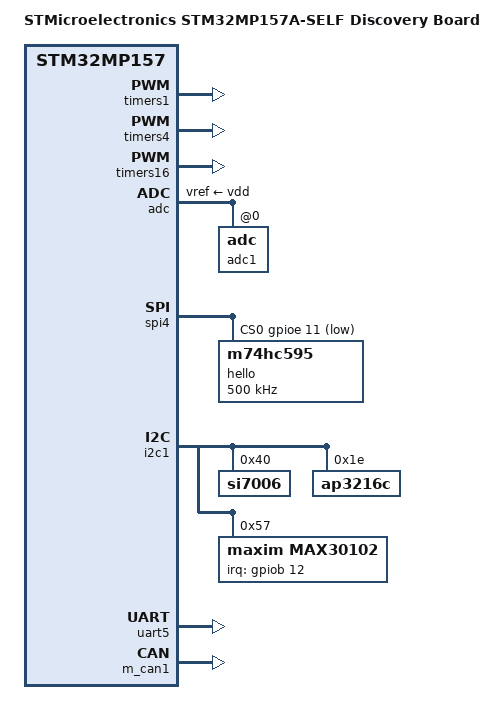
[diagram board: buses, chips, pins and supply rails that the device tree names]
// SPDX-License-Identifier: (GPL-2.0+ OR BSD-3-Clause)
/*
 * Copyright (C) STMicroelectronics 2019 - All Rights Reserved
 * Author: Alexandre Torgue <alexandre.torgue@st.com> for STMicroelectronics.
 */

/dts-v1/;

#include "stm32mp157.dtsi"
#include "stm32mp15xa.dtsi"
#include "stm32mp15-pinctrl.dtsi"
#include "stm32mp15xxac-pinctrl.dtsi"
#include "stm32mp15xx-self.dtsi"
#include "stm32mp157a-self-scmi.dtsi"

/ {
	model = "STMicroelectronics STM32MP157A-SELF Discovery Board";
	compatible = "st,stm32mp157a-self", "st,stm32mp157";

	aliases {
		ethernet0 = &ethernet0;
		serial1 = &uart5;
	};

	chosen {
		stdout-path = "serial0:115200n8";
	};
};

&pinctrl {
    pwm1_pins_c: pwm1-1 {
        bias-pull-down;
        drive-push-pull;
        slew-rate = <0>;
        pins {
            pinmux = <STM32_PINMUX('E', 9, AF1)>; /* TIM1_CH1 fan */
        };
    };

    pwm1_sleep_pins_c: pwm1-sleep-1 {
        pins {
            pinmux = <STM32_PINMUX('E', 9, ANALOG)>; /* TIM1_CH1 fan */
        };
    };

    pwm4_pins_c: pwm4-0 {
        bias-pull-down;
        drive-push-pull;
        slew-rate = <0>;
        pins {
            pinmux = <STM32_PINMUX('B', 6, AF2)>; /* TIM4_CH1 beep */
        };
    };

    pwm4_sleep_pins_c: pwm4-sleep-0 {
        pins {
            pinmux = <STM32_PINMUX('B', 6, ANALOG)>; /* TIM4_CH1 beep */
        };
    };

    pwm16_pins_a: pwm16-0 {
        bias-pull-down;
        drive-push-pull;
        slew-rate = <0>;
        pins {
            pinmux = <STM32_PINMUX('F', 6, AF1)>; /* TIM16_CH1 motor */
        };
    };

    pwm16_sleep_pins_a: pwm16-sleep-0 {
        pins {
            pinmux = <STM32_PINMUX('F', 6, ANALOG)>; /* TIM16_CH1 motor */
        };
    };
};


&timers1 {
	/* spare dmas for other usage */
	/delete-property/dmas;
	/delete-property/dma-names;
	status = "okay";

	pwm1: pwm {
		label = "beep";
		pinctrl-0 = <&pwm1_pins_c>;
		pinctrl-1 = <&pwm1_sleep_pins_c>;
		pinctrl-names = "default", "sleep";
		#pwm-cells = <2>;
		status = "okay";
	};
};

&timers4 {
	/* spare dmas for other usage */
	/delete-property/dmas;
	/delete-property/dma-names;
	status = "okay";

	pwm4: pwm {
		label = "fans";
		pinctrl-0 = <&pwm4_pins_c>;
		pinctrl-1 = <&pwm4_sleep_pins_c>;
		pinctrl-names = "default", "sleep";
		#pwm-cells = <2>;
		status = "okay";
	};
};

&timers16 {
	/* spare dmas for other usage */
	/delete-property/dmas;
	/delete-property/dma-names;
	status = "okay";

	pwm16: pwm {
		label = "motor";
		pinctrl-0 = <&pwm16_pins_a>;
		pinctrl-1 = <&pwm16_sleep_pins_a>;
		pinctrl-names = "default", "sleep";
		#pwm-cells = <2>;
		status = "okay";
	};
};

&adc {
	vdd-supply = <&vdd>;
	vdda-supply = <&vdd>;
	vref-supply = <&vdd>;
	status = "okay";

	adc1: adc@0 {
		st,adc-channels = <0 1>;
		st,min-sample-time-nsecs = <10000>;
		status = "okay";
	};
};

&spi4 {
    pinctrl-names = "default", "sleep";
    pinctrl-0 = <&spi4_pins_b>;
    pinctrl-1 = <&spi4_sleep_pins_b>;
    cs-gpios = <&gpioe 11 GPIO_ACTIVE_LOW>;
    status = "okay";

    m74hc595: m74hc595@0 {
        compatible = "m74hc595";
        label = "hello";
        reg = <0>;
        spi-max-frequency = <500000>;
        status = "okay";
    };
};

&i2c1 {
	pinctrl-names = "default", "sleep";
	pinctrl-0 = <&i2c1_pins_b>;
	pinctrl-1 = <&i2c1_sleep_pins_b>;
	i2c-scl-rising-time-ns = <100>;	//上升沿时间毫秒
    i2c-scl-falling-time-ns = <7>;	//下降沿时间
	/delete-property/dmas;      	//删除dma属性
    /delete-property/dma-names;
	status = "okay";

	si7006: si7006@40 {
		compatible = "si7006";
		reg = <0x40>;
	};

	ap3216c: ap3216c@1e {
		compatible = "ap3216c";
		reg = <0x1e>;
	};

	max30102: max30102@57 {
		compatible = "maxim,max30102";
		reg = <0x57>;
		maxim,red-led-current-microamp = <7000>;
		maxim,ir-led-current-microamp = <7000>;
		interrupt-parent = <&gpiob>;
		interrupts = <12 IRQ_TYPE_EDGE_FALLING >;
	};
};

&uart5 {
	pinctrl-names = "default", "no_console_suspend";
	pinctrl-0 = <&uart5_pins_a>;
	/delete-property/dmas;
	/delete-property/dma-names;
	status = "okay";
};

&m_can1 {
	label = "can test";
	pinctrl-names = "default", "sleep";
	pinctrl-0 = <&m_can1_pins_a>;
	pinctrl-1 = <&m_can1_sleep_pins_a>;
	clocks = <&scmi_clk CK_SCMI_HSE>, <&rcc FDCAN_K>;
	status = "okay";
	can-transmitter {
		max-bitrate = <5000000>;
	};
};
